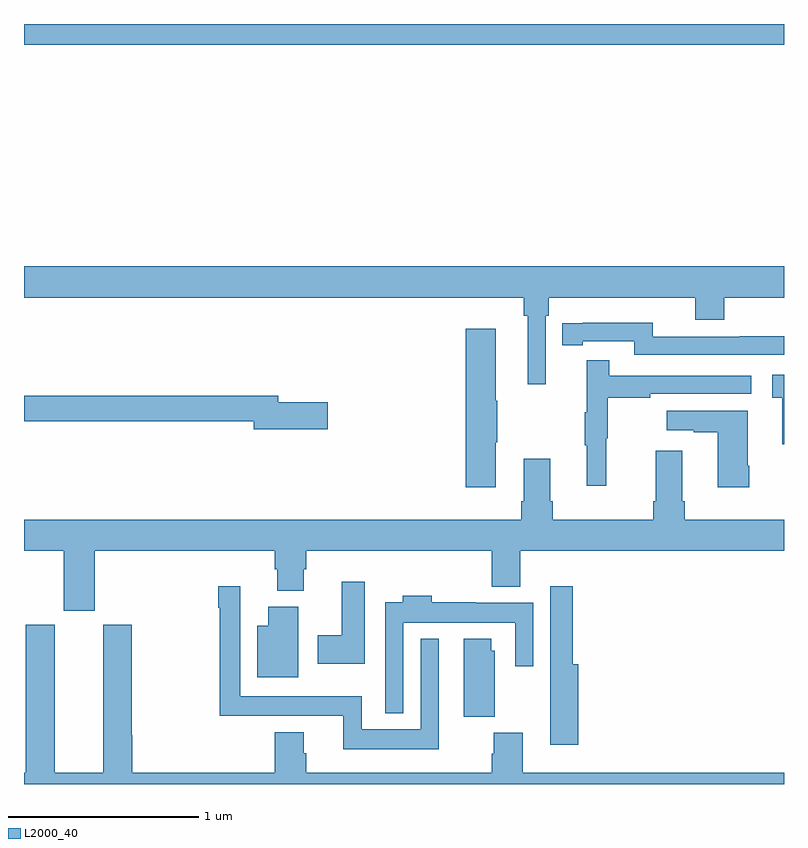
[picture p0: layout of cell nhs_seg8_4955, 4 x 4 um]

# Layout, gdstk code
import gdstk
lib = gdstk.Library(unit=1e-6, precision=1e-09)
def R(c, l, rs):  # rectangles x0, y0, x1, y1
    for r in rs: c.add(gdstk.rectangle(r[:2], r[2:], *l))
def P(c, l, *ps):  # polygons
    for p in ps: c.add(gdstk.Polygon(p, *l))
L2000_40 = (2000, 40)

nhs_seg8_4955 = lib.new_cell('nhs_seg8_4955')
R(nhs_seg8_4955, L2000_40, [(409,1157.792,413,1157.9)])
P(nhs_seg8_4955, L2000_40, [(411.747,1156.364),(411.761,1156.364),(411.761,1156.46),(412.532,1156.46),(412.532,1156.343),(412.685,1156.343),(412.685,1156.46),(413,1156.46),(413,1156.624),(409,1156.624),(409,1156.46),(411.631,1156.46),(411.631,1156.364),(411.65,1156.364),(411.65,1156.005),(411.747,1156.005)],
  [(413,1156.256),(412.768,1156.256),(412.768,1156.254),(412.308,1156.254),(412.308,1156.327),(411.94,1156.327),(411.94,1156.326),(411.832,1156.326),(411.832,1156.21),(411.94,1156.21),(411.94,1156.23),(412.212,1156.23),(412.212,1156.158),(413,1156.158)],
  [(411.484,1155.7),(411.492,1155.7),(411.492,1155.917),(411.484,1155.917),(411.484,1156.297),(411.326,1156.297),(411.326,1155.462),(411.484,1155.462)],
  [(412.064,1155.72),(412.072,1155.72),(412.072,1155.934),(412.295,1155.934),(412.295,1155.954),(412.828,1155.954),(412.828,1156.05),(412.079,1156.05),(412.079,1156.129),(411.962,1156.129),(411.962,1155.857),(411.951,1155.857),(411.951,1155.683),(411.962,1155.683),(411.962,1155.471),(412.064,1155.471)],
  [(413,1156.054),(412.938,1156.054),(412.938,1155.933),(412.991,1155.933),(412.991,1155.687),(413,1155.687)],
  [(410.599,1155.908),(410.338,1155.908),(410.338,1155.944),(409,1155.944),(409,1155.808),(410.21,1155.808),(410.21,1155.766),(410.599,1155.766)],
  [(412.818,1155.574),(412.81,1155.574),(412.81,1155.865),(412.383,1155.865),(412.383,1155.761),(412.526,1155.761),(412.526,1155.751),(412.652,1155.751),(412.652,1155.462),(412.818,1155.462)],
  [(409.372,1155.128),(410.321,1155.128),(410.321,1155.03),(410.333,1155.03),(410.333,1154.918),(410.473,1154.918),(410.473,1155.03),(410.486,1155.03),(410.486,1155.128),(411.461,1155.128),(411.461,1154.939),(411.613,1154.939),(411.613,1155.128),(413,1155.128),(413,1155.292),(412.478,1155.292),(412.478,1155.388),(412.465,1155.388),(412.465,1155.655),(412.325,1155.655),(412.325,1155.388),(412.313,1155.388),(412.313,1155.292),(411.782,1155.292),(411.782,1155.388),(411.769,1155.388),(411.769,1155.613),(411.629,1155.613),(411.629,1155.388),(411.617,1155.388),(411.617,1155.292),(409,1155.292),(409,1155.128),(409.208,1155.128),(409.208,1154.811),(409.372,1154.811)],
  [(410.794,1154.965),(410.672,1154.965),(410.672,1154.682),(410.547,1154.682),(410.547,1154.534),(410.794,1154.534)],
  [(411.184,1154.665),(411.087,1154.665),(411.087,1154.188),(410.778,1154.188),(410.778,1154.362),(410.139,1154.362),(410.139,1154.941),(410.023,1154.941),(410.023,1154.828),(410.031,1154.828),(410.031,1154.258),(410.681,1154.258),(410.681,1154.084),(411.184,1154.084)],
  [(411.917,1154.53),(411.887,1154.53),(411.887,1154.941),(411.771,1154.941),(411.771,1154.426),(411.77,1154.426),(411.77,1154.106),(411.917,1154.106)],
  [(410.997,1154.75),(411.585,1154.75),(411.585,1154.52),(411.681,1154.52),(411.681,1154.854),(411.377,1154.854),(411.377,1154.857),(411.146,1154.857),(411.146,1154.89),(410.993,1154.89),(410.993,1154.857),(410.901,1154.857),(410.901,1154.273),(410.997,1154.273)],
  [(410.443,1154.833),(410.285,1154.833),(410.285,1154.734),(410.228,1154.734),(410.228,1154.462),(410.443,1154.462)],
  [(413,1153.96),(411.626,1153.96),(411.626,1154.169),(411.473,1154.169),(411.473,1154.06),(411.461,1154.06),(411.461,1153.96),(410.486,1153.96),(410.486,1154.061),(410.473,1154.061),(410.473,1154.173),(410.321,1154.173),(410.321,1153.96),(409.571,1153.96),(409.571,1154.156),(409.566,1154.156),(409.566,1154.739),(409.418,1154.739),(409.418,1153.96),(409.162,1153.96),(409.162,1154.739),(409.01,1154.739),(409.01,1153.96),(409,1153.96),(409,1153.9),(413,1153.9)],
  [(411.478,1154.601),(411.46,1154.601),(411.46,1154.665),(411.314,1154.665),(411.314,1154.254),(411.478,1154.254)])

lib.write_gds('nhs_seg8_4955.gds')
